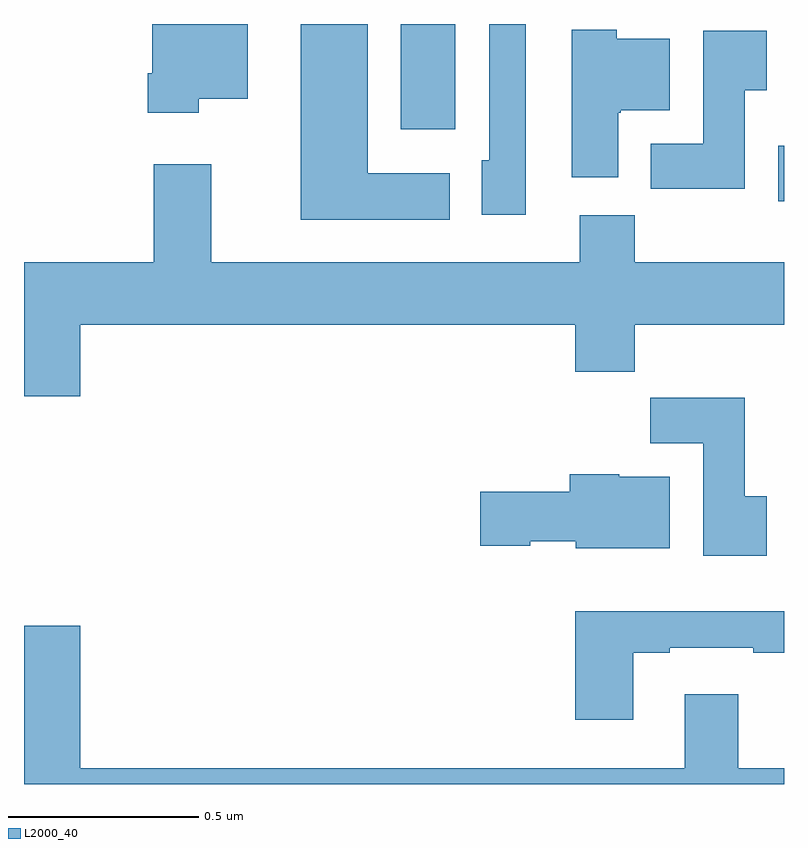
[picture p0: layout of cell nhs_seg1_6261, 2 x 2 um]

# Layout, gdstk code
import gdstk
lib = gdstk.Library(unit=1e-6, precision=1e-09)
def R(c, l, rs):  # rectangles x0, y0, x1, y1
    for r in rs: c.add(gdstk.rectangle(r[:2], r[2:], *l))
def P(c, l, *ps):  # polygons
    for p in ps: c.add(gdstk.Polygon(p, *l))
L2000_40 = (2000, 40)

nhs_seg1_6261 = lib.new_cell('nhs_seg1_6261')
R(nhs_seg1_6261, L2000_40, [(190.985,542.732,191,542.878), (189.992,542.922,190.135,543.199)])
P(nhs_seg1_6261, L2000_40, [(189.46,543.002),(189.589,543.002),(189.589,543.199),(189.338,543.199),(189.338,543.07),(189.326,543.07),(189.326,542.966),(189.46,542.966)],
  [(190.12,542.806),(189.904,542.806),(189.904,543.199),(189.728,543.199),(189.728,542.684),(190.12,542.684)],
  [(190.32,543.199),(190.224,543.199),(190.224,542.841),(190.205,542.841),(190.205,542.697),(190.32,542.697)],
  [(190.564,542.966),(190.57,542.966),(190.57,542.972),(190.699,542.972),(190.699,543.16),(190.56,543.16),(190.56,543.184),(190.442,543.184),(190.442,542.796),(190.564,542.796)],
  [(190.897,543.025),(190.954,543.025),(190.954,543.181),(190.787,543.181),(190.787,542.884),(190.649,542.884),(190.649,542.766),(190.897,542.766)],
  [(189.148,542.408),(190.451,542.408),(190.451,542.284),(190.607,542.284),(190.607,542.408),(191,542.408),(191,542.572),(190.607,542.572),(190.607,542.696),(190.463,542.696),(190.463,542.572),(189.493,542.572),(189.493,542.83),(189.341,542.83),(189.341,542.572),(189,542.572),(189,542.22),(189.148,542.22)],
  [(190.954,541.956),(190.897,541.956),(190.897,542.215),(190.648,542.215),(190.648,542.096),(190.787,542.096),(190.787,541.8),(190.954,541.8)],
  [(190.699,542.008),(190.566,542.008),(190.566,542.014),(190.436,542.014),(190.436,541.968),(190.2,541.968),(190.2,541.826),(190.332,541.826),(190.332,541.838),(190.452,541.838),(190.452,541.82),(190.699,541.82)],
  [(190.603,541.545),(190.699,541.545),(190.699,541.557),(190.919,541.557),(190.919,541.545),(191,541.545),(191,541.654),(190.451,541.654),(190.451,541.368),(190.603,541.368)],
  [(191,541.24),(190.879,541.24),(190.879,541.435),(190.739,541.435),(190.739,541.24),(189.148,541.24),(189.148,541.615),(189,541.615),(189,541.199),(191,541.199)])

lib.write_gds('nhs_seg1_6261.gds')
